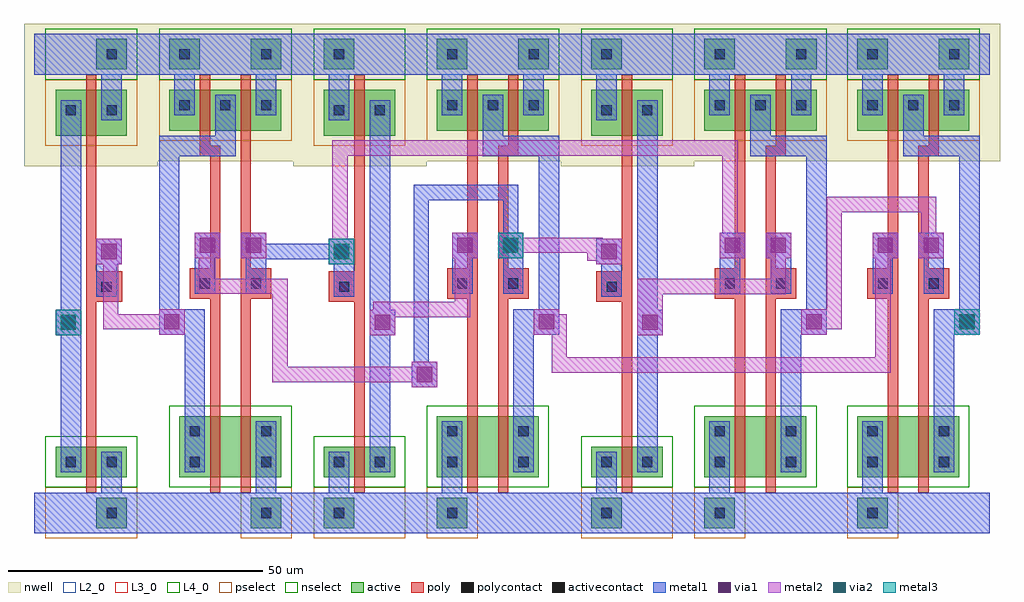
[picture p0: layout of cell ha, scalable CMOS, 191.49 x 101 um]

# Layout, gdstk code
from math import pi, radians
import gdstk
lib = gdstk.Library(unit=1e-6, precision=1e-09)
def R(c, l, rs):  # rectangles x0, y0, x1, y1
    for r in rs: c.add(gdstk.rectangle(r[:2], r[2:], *l))
def A(c, l, x, y, w, h, nx, ny, dx, dy):  # array of equal rectangles
    R(c, l, [(x+i*dx, y+j*dy, x+i*dx+w, y+j*dy+h) for i in range(nx) for j in range(ny)])
def P(c, l, *ps):  # polygons
    for p in ps: c.add(gdstk.Polygon(p, *l))
L2_0 = (2, 0)
L3_0 = (3, 0)
L4_0 = (4, 0)
nwell = (42, 0)
active = (43, 0)
pselect = (44, 0)
nselect = (45, 0)
poly = (46, 0)
polycontact = (47, 0)
activecontact = (48, 0)
metal1 = (49, 0)
via1 = (50, 0)
metal2 = (51, 0)
via2 = (61, 0)
metal3 = (62, 0)

inv = lib.new_cell('inv')
R(inv, nwell, [(23.3,75.2,49.5,103.2)])
R(inv, active, [(29.3,4.2,35.3,10.2), (29.3,14.2,43.3,20.2), (29.3,81.2,43.3,84.2), (29.3,84.2,43.3,90.2), (29.3,94.2,35.3,100.2)])
R(inv, pselect, [(27.3,2.2,45.3,12.2), (27.3,79.2,45.3,92.2)])
R(inv, nselect, [(27.3,12.2,45.3,22.2), (27.3,92.2,45.3,102.2)])
R(inv, poly, [(35.3,11.2,37.3,23.2), (30.25,48.6,36.25,54.6), (35.3,75.2,37.3,93.2)])
R(inv, polycontact, [(32.3,50.6,34.3,52.6)])
R(inv, activecontact, [(31.3,6.2,33.3,8.2), (31.3,16.2,33.3,18.2), (39.3,16.2,41.3,18.2), (31.3,85.2,33.3,87.2), (39.3,85.2,41.3,87.2), (31.3,96.2,33.3,98.2)])
R(inv, metal1, [(30.3,5.2,34.3,9.2), (30.3,15.2,34.3,19.2), (38.3,15.2,42.3,19.2), (38.3,42.1,43.3,47.1), (31.3,49.6,35.3,53.6), (30.3,56,35.3,61), (30.3,84.2,34.3,88.2), (38.3,84.2,42.3,88.2), (30.3,95.2,34.3,99.2)])
R(inv, via1, [(39.3,43.1,42.3,46.1), (31.3,57,34.3,60)])
R(inv, metal2, [(38.3,42.1,43.3,47.1), (30.3,56,35.3,61)])
inv.add(gdstk.FlexPath([(24.99,97.2),(47.49,97.2)], 8, ends="flush", simple_path=True, layer=49, datatype=0))  # metal1
inv.add(gdstk.FlexPath([(25,7.2),(47.5,7.2)], 8, ends="flush", simple_path=True, layer=49, datatype=0))  # metal1
inv.add(gdstk.FlexPath([(33.3,53.6),(33.3,56)], 4, ends="flush", simple_path=True, layer=49, datatype=0))  # metal1
inv.add(gdstk.FlexPath([(40.3,42.2),(40.3,19.2)], 4, ends="flush", simple_path=True, layer=49, datatype=0))  # metal1
inv.add(gdstk.FlexPath([(32.3,88.2),(32.3,95.2)], 4, ends="flush", simple_path=True, layer=49, datatype=0))  # metal1
inv.add(gdstk.FlexPath([(40.3,79.2),(40.3,84.2)], 4, ends="flush", simple_path=True, layer=49, datatype=0))  # metal1
inv.add(gdstk.FlexPath([(32.3,9.2),(32.3,15.2)], 4, ends="flush", simple_path=True, layer=49, datatype=0))  # metal1
inv.add(gdstk.FlexPath([(40.3,42.1),(40.3,79.6)], 4, ends="flush", simple_path=True, layer=49, datatype=0))  # metal1
inv.add(gdstk.FlexPath([(36.3,75.2),(36.3,60.2)], 2, ends="flush", simple_path=True, layer=46, datatype=0))  # poly
inv.add(gdstk.FlexPath([(36.3,23.1),(36.3,60.6)], 2, ends="flush", simple_path=True, layer=46, datatype=0))  # poly
inv.add(gdstk.Label('VOUT', (40.8,44.6), layer=51, texttype=0))
inv.add(gdstk.Label('VIN', (32.8,58.5), layer=51, texttype=0))
inv.add(gdstk.Label('VDD', (36.24,97.2), layer=49, texttype=0))
inv.add(gdstk.Label('GND', (36.25,7.2), layer=49, texttype=0))
inv.add(gdstk.Label('VIN', (32.8,58.5), layer=3, texttype=0))
inv.add(gdstk.Label('VOUT', (40.8,44.6), layer=3, texttype=0))

nand2 = lib.new_cell('nand2')
R(nand2, nwell, [(402,-492,436,-465)])
R(nand2, active, [(408,-564,414,-558), (408,-554,428,-548), (408,-548,428,-542), (408,-486,430,-484), (408,-484,430,-478), (408,-474,414,-468), (424,-474,430,-468)])
R(nand2, pselect, [(406,-566,416,-556), (406,-488,432,-476)])
R(nand2, nselect, [(406,-556,430,-540), (406,-476,432,-466)])
R(nand2, poly, [(414,-557,416,-545), (420,-557,422,-545), (410,-519,416,-513), (420,-519,426,-513), (414,-489,416,-475), (422,-489,424,-475)])
R(nand2, polycontact, [(412,-517,414,-515), (422,-517,424,-515)])
A(nand2, activecontact, 410, -482, 2, 2, 3, 1, 8, 0)
R(nand2, activecontact, [(410,-562,412,-560), (410,-552,412,-550), (424,-552,426,-550), (410,-546,412,-544), (424,-546,426,-544), (410,-472,412,-470), (426,-472,428,-470)])
A(nand2, metal1, 409, -483, 4, 4, 3, 1, 8, 0)
R(nand2, metal1, [(404,-565,434,-557), (409,-563,413,-559), (409,-553,413,-549), (423,-553,427,-549), (409,-547,413,-543), (423,-547,427,-543), (427,-526,432,-521), (411,-518,415,-514), (421,-518,425,-514), (411,-511,416,-506), (420,-511,425,-506), (404,-475,434,-467), (409,-473,413,-469), (425,-473,429,-469)])
R(nand2, via1, [(428,-525,431,-522), (412,-510,415,-507), (421,-510,424,-507)])
R(nand2, metal2, [(427,-526,432,-521), (411,-511,416,-506), (420,-511,425,-506)])
nand2.add(gdstk.FlexPath([(425,-543),(425,-521)], 4, ends="flush", simple_path=True, layer=49, datatype=0))  # metal1
nand2.add(gdstk.FlexPath([(430,-517),(430,-497)], 4, ends="flush", simple_path=True, layer=49, datatype=0))  # metal1
nand2.add(gdstk.FlexPath([(417,-489),(432,-489)], 4, ends="flush", simple_path=True, layer=49, datatype=0))  # metal1
nand2.add(gdstk.FlexPath([(419,-483),(419,-487)], 4, ends="flush", simple_path=True, layer=49, datatype=0))  # metal1
nand2.add(gdstk.FlexPath([(430,-491),(430,-497)], 4, ends="flush", simple_path=True, layer=49, datatype=0))  # metal1
nand2.add(gdstk.FlexPath([(423,-514),(423,-511)], 4, ends="flush", simple_path=True, layer=49, datatype=0))  # metal1
nand2.add(gdstk.FlexPath([(413,-514),(413,-511)], 4, ends="flush", simple_path=True, layer=49, datatype=0))  # metal1
nand2.add(gdstk.FlexPath([(411,-473),(411,-479)], 4, ends="flush", simple_path=True, layer=49, datatype=0))  # metal1
nand2.add(gdstk.FlexPath([(427,-473),(427,-479)], 4, ends="flush", simple_path=True, layer=49, datatype=0))  # metal1
nand2.add(gdstk.FlexPath([(430,-517),(430,-521)], 4, ends="flush", simple_path=True, layer=49, datatype=0))  # metal1
nand2.add(gdstk.FlexPath([(411,-553),(411,-559)], 4, ends="flush", simple_path=True, layer=49, datatype=0))  # metal1
nand2.add(gdstk.FlexPath([(425,-549),(425,-547)], 4, ends="flush", simple_path=True, layer=49, datatype=0))  # metal1
nand2.add(gdstk.FlexPath([(411,-549),(411,-547)], 4, ends="flush", simple_path=True, layer=49, datatype=0))  # metal1
nand2.add(gdstk.FlexPath([(415,-489),(415,-545)], 2, ends="flush", simple_path=True, layer=46, datatype=0))  # poly
nand2.add(gdstk.FlexPath([(421,-545),(421,-491)], 2, ends="flush", simple_path=True, layer=46, datatype=0))  # poly
nand2.add(gdstk.FlexPath([(420,-490),(424,-490)], 2, ends="flush", simple_path=True, layer=46, datatype=0))  # poly
nand2.add(gdstk.Label('VA', (413.5,-508.5), layer=51, texttype=0))
nand2.add(gdstk.Label('VB', (422.5,-508.5), layer=51, texttype=0))
nand2.add(gdstk.Label('VOUT', (429.5,-523.5), layer=51, texttype=0))
nand2.add(gdstk.Label('VDD', (419,-471), layer=49, texttype=0))
nand2.add(gdstk.Label('GND', (419,-561), layer=49, texttype=0))

xor = lib.new_cell('xor')
R(xor, L2_0, [(-0.01,226,134.99,234), (-0.01,316,134.99,324)])
R(xor, L4_0, [(127.98,265,132.98,270), (5.3,278.8,10.3,283.8), (38.49,280,43.49,285)])
R(xor, metal2, [(65.79,269.9,70.79,275.94)])
P(xor, metal2, [(41.99,281),(56,281),(56,279.5),(59.29,279.5),(59.29,282.5),(59,282.5),(59,284),(41.99,284)],
  [(48.99,257.5),(115.5,257.5),(115.5,281.5),(112.5,281.5),(112.5,260.5),(51.99,260.5),(51.99,269),(48.99,269)],
  [(66.78,267.41),(69.78,267.41),(69.78,272.94),(94.99,272.94),(94.99,285),(91.99,285),(91.99,275.94),(66.78,275.94)],
  [(14,268.4),(33,268.4),(33,281.5),(30,281.5),(30,271.4),(14,271.4)],
  [(6,280.11),(9,280.11),(9,300.11),(82.5,300.11),(82.5,281.31),(85.5,281.31),(85.5,303.11),(6,303.11)],
  [(101.48,266),(105.98,266),(105.98,289),(121.5,289),(121.5,283.5),(124.5,283.5),(124.5,292),(102.98,292),(102.98,269),(101.48,269)])
R(xor, via2, [(128.98,266,131.98,269), (6.3,279.8,9.3,282.8), (39.49,281,42.49,284)])
R(xor, metal3, [(127.98,265,132.98,270), (5.3,278.8,10.3,283.8), (38.49,280,43.49,285)])
xor.add(gdstk.Reference(inv, (27.49,222.8)))
xor.add(gdstk.Reference(inv, (-25,222.8)))
xor.add(gdstk.Reference(nand2, (-329.02,791)))
xor.add(gdstk.Reference(nand2, (-299.02,791)))
xor.add(gdstk.Reference(nand2, (-381.51,791)))
xor.add(gdstk.Label('/VA', (7.8,281.3), layer=62, texttype=0))
xor.add(gdstk.Label('/VB', (40.99,282.5), layer=62, texttype=0))
xor.add(gdstk.Label('/VOUT', (130.48,267.5), layer=62, texttype=0))
xor.add(gdstk.Label('VDD', (67.49,320), layer=2, texttype=0))
xor.add(gdstk.Label('GND', (67.49,230), layer=2, texttype=0))
xor.add(gdstk.Label('VA', (7.8,281.3), layer=4, texttype=0))
xor.add(gdstk.Label('VB', (40.99,282.5), layer=4, texttype=0))
xor.add(gdstk.Label('VOUT', (130.48,267.5), layer=4, texttype=0))

and2 = lib.new_cell('and2')
R(and2, L2_0, [(1.5,63.85,53.99,71.85), (1.5,153.85,53.99,161.85)])
R(and2, L3_0, [(44.8,102.75,49.8,107.75), (8.5,117.85,13.5,122.85), (17.5,117.85,22.5,122.85)])
R(and2, metal2, [(8.5,117.85,13.5,122.85), (17.5,117.85,22.5,122.85)])
P(and2, metal2, [(28.49,103.85),(40.5,103.85),(40.5,118.11),(37.5,118.11),(37.5,106.85),(28.49,106.85)])
R(and2, via2, [(45.8,103.75,48.8,106.75)])
R(and2, metal3, [(44.8,102.75,49.8,107.75)])
and2.add(gdstk.Reference(nand2, (-402.5,628.85)))
and2.add(gdstk.Reference(inv, (6.5,60.65)))
and2.add(gdstk.Label('VDD', (27.745,157.85), layer=2, texttype=0))
and2.add(gdstk.Label('GND', (27.745,67.85), layer=2, texttype=0))
and2.add(gdstk.Label('VA', (11,120.35), layer=3, texttype=0))
and2.add(gdstk.Label('VB', (20,120.35), layer=3, texttype=0))
and2.add(gdstk.Label('VOUT', (47.3,105.25), layer=3, texttype=0))
and2.add(gdstk.Label('/VOUT', (47.3,105.25), layer=62, texttype=0))
and2.add(gdstk.Label('/VA', (11,120.35), layer=51, texttype=0))
and2.add(gdstk.Label('/VB', (20,120.35), layer=51, texttype=0))

c_ha = lib.new_cell('ha')
R(c_ha, metal1, [(-145.79,76.4,41.7,84.4), (-71.71,105.06,-66.71,110.06), (-100.39,130.21,-87.75,133.21), (-145.79,166.4,41.7,174.4)])
P(c_ha, metal1, [(-71.34,109.85),(-68.34,109.85),(-68.34,141.78),(-53.79,141.78),(-53.79,135.28),(-50.79,135.28),(-50.79,144.78),(-71.34,144.78)])
R(c_ha, via1, [(-70.71,106.06,-67.71,109.06)])
R(c_ha, metal2, [(-71.71,105.06,-66.71,110.06)])
P(c_ha, metal2, [(-113.48,123.35),(-99.05,123.35),(-99.05,106.06),(-71.35,106.06),(-71.35,109.06),(-96.05,109.06),(-96.05,126.35),(-110.48,126.35),(-110.48,130.66),(-113.48,130.66)])
R(c_ha, metal3, [(-141.6,115.3,-136.6,120.3), (34.69,115.4,39.69,120.4), (-87.99,129.2,-82.99,134.2), (-54.8,130.4,-49.8,135.4)])
c_ha.add(gdstk.Reference(xor, (-93.29,-149.6)))
c_ha.add(gdstk.Reference(and2, (-91.8,12.55), rotation=pi, x_reflection=True))

lib.write_gds('ha.gds')
